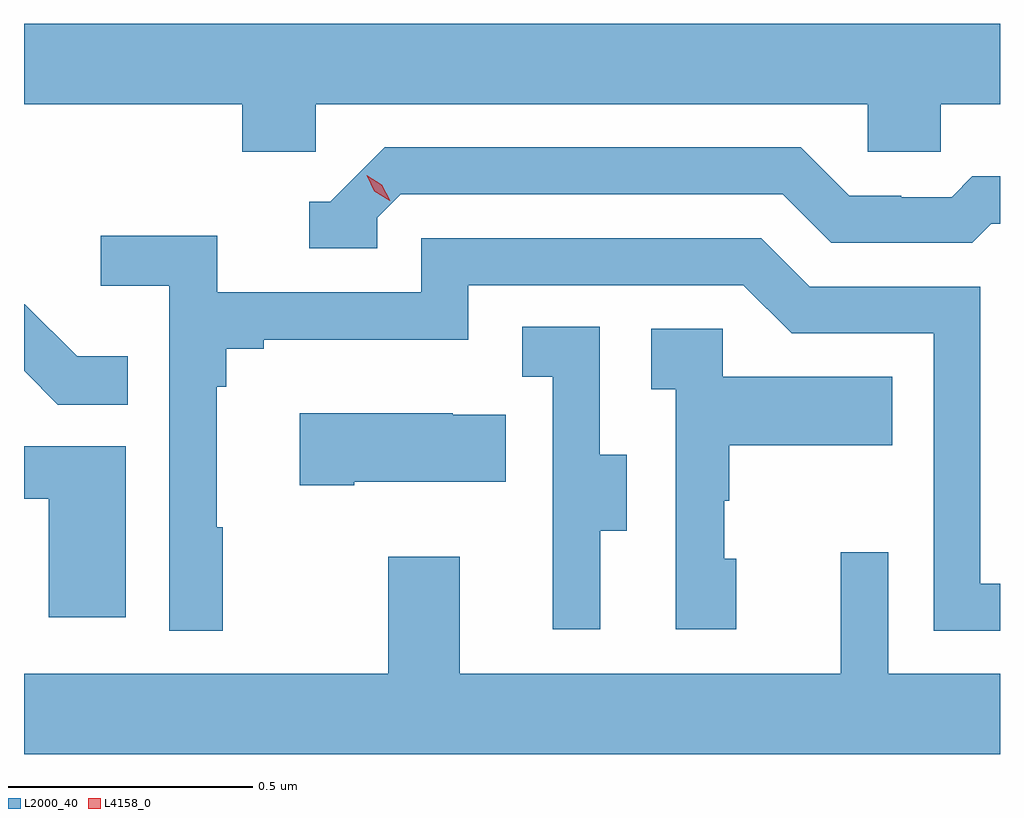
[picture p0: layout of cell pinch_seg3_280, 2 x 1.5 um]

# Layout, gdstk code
import gdstk
lib = gdstk.Library(unit=1e-6, precision=1e-09)
def P(c, l, *ps):  # polygons
    for p in ps: c.add(gdstk.Polygon(p, *l))
L2000_40 = (2000, 40)
L4158_0 = (4158, 0)

pinch_seg3_280 = lib.new_cell('pinch_seg3_280')
P(pinch_seg3_280, L2000_40, [(898.5,708.908),(899.631,708.908),(899.631,708.81),(899.781,708.81),(899.781,708.908),(899.902,708.908),(899.902,709.072),(897.902,709.072),(897.902,708.908),(898.349,708.908),(898.349,708.81),(898.5,708.81)],
  [(898.626,708.675),(898.674,708.723),(899.457,708.723),(899.556,708.624),(899.845,708.624),(899.884,708.663),(899.902,708.663),(899.902,708.76),(899.845,708.76),(899.803,708.717),(899.7,708.717),(899.7,708.72),(899.593,708.72),(899.494,708.819),(898.641,708.819),(898.53,708.708),(898.487,708.708),(898.487,708.612),(898.626,708.612)],
  [(898.309,708.041),(898.297,708.041),(898.297,708.329),(898.316,708.329),(898.316,708.406),(898.393,708.406),(898.393,708.425),(898.812,708.425),(898.812,708.537),(899.376,708.537),(899.475,708.438),(899.766,708.438),(899.766,707.829),(899.902,707.829),(899.902,707.925),(899.862,707.925),(899.862,708.534),(899.512,708.534),(899.413,708.633),(898.716,708.633),(898.716,708.522),(898.298,708.522),(898.298,708.638),(898.059,708.638),(898.059,708.536),(898.2,708.536),(898.2,707.829),(898.309,707.829)],
  [(898.115,708.391),(898.011,708.391),(897.904,708.498),(897.902,708.498),(897.902,708.361),(897.971,708.292),(898.115,708.292)],
  [(899.083,708.034),(899.137,708.034),(899.137,708.189),(899.082,708.189),(899.082,708.452),(898.923,708.452),(898.923,708.349),(898.986,708.349),(898.986,708.045),(898.985,708.045),(898.985,707.832),(899.083,707.832)],
  [(899.362,707.976),(899.337,707.976),(899.337,708.095),(899.347,708.095),(899.347,708.209),(899.681,708.209),(899.681,708.349),(899.334,708.349),(899.334,708.447),(899.187,708.447),(899.187,708.323),(899.238,708.323),(899.238,707.832),(899.362,707.832)],
  [(898.579,708.134),(898.889,708.134),(898.889,708.271),(898.781,708.271),(898.781,708.274),(898.467,708.274),(898.467,708.127),(898.579,708.127)],
  [(898.111,708.207),(897.902,708.207),(897.902,708.099),(897.953,708.099),(897.953,707.856),(898.111,707.856)],
  [(899.902,707.74),(899.673,707.74),(899.673,707.989),(899.576,707.989),(899.576,707.74),(898.795,707.74),(898.795,707.98),(898.648,707.98),(898.648,707.74),(897.902,707.74),(897.902,707.576),(899.902,707.576)])
P(pinch_seg3_280, L4158_0, [(898.651,708.71),(898.62,708.729),(898.604,708.762),(898.604,708.762),(898.604,708.762),(898.635,708.743),(898.652,708.71),(898.652,708.71)])

lib.write_gds('pinch_seg3_280.gds')
